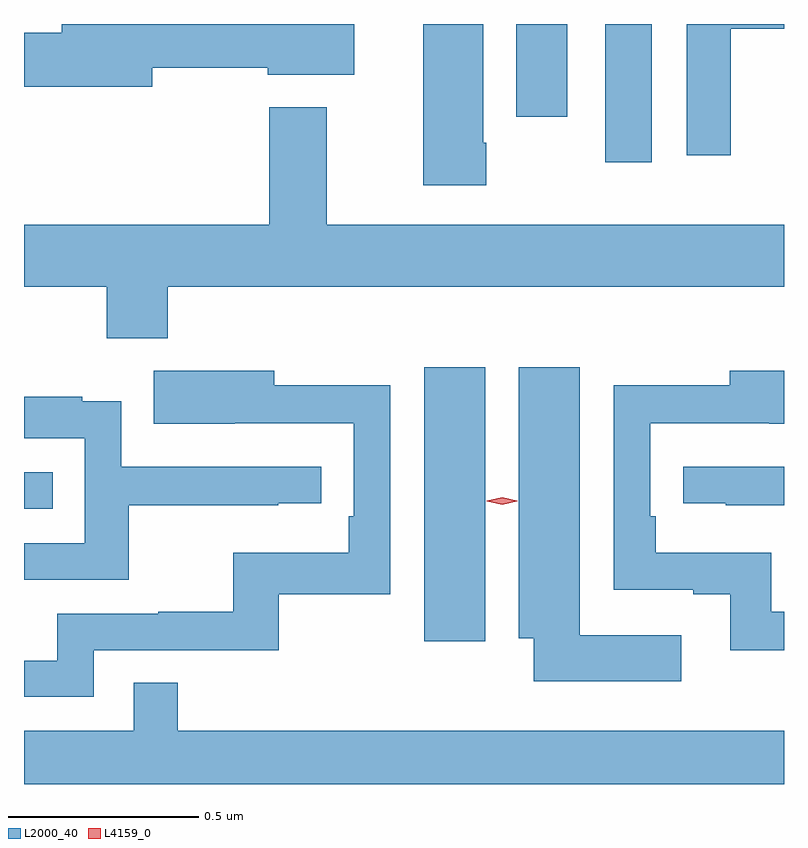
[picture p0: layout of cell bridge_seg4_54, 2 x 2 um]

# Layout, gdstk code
import gdstk
lib = gdstk.Library(unit=1e-6, precision=1e-09)
def R(c, l, rs):  # rectangles x0, y0, x1, y1
    for r in rs: c.add(gdstk.rectangle(r[:2], r[2:], *l))
def P(c, l, *ps):  # polygons
    for p in ps: c.add(gdstk.Polygon(p, *l))
L2000_40 = (2000, 40)
L4159_0 = (4159, 0)

bridge_seg4_54 = lib.new_cell('bridge_seg4_54')
R(bridge_seg4_54, L2000_40, [(867.737,818.532,867.898,819.253), (866.684,818.88,866.759,818.976), (868.214,819.792,868.336,820.156), (867.98,819.912,868.114,820.156)])
P(bridge_seg4_54, L2000_40, [(868.544,820.144),(868.684,820.144),(868.684,820.156),(868.428,820.156),(868.428,819.81),(868.544,819.81)],
  [(867.9,819.844),(867.892,819.844),(867.892,820.156),(867.734,820.156),(867.734,819.732),(867.9,819.732)],
  [(867.022,820.041),(867.326,820.041),(867.326,820.022),(867.553,820.022),(867.553,820.156),(866.783,820.156),(866.783,820.133),(866.684,820.133),(866.684,819.991),(867.022,819.991)],
  [(867.062,819.464),(868.684,819.464),(868.684,819.628),(867.481,819.628),(867.481,819.937),(867.329,819.937),(867.329,819.628),(866.684,819.628),(866.684,819.464),(866.902,819.464),(866.902,819.329),(867.062,819.329)],
  [(868.414,818.548),(868.147,818.548),(868.147,819.253),(867.986,819.253),(867.986,818.54),(868.025,818.54),(868.025,818.426),(868.414,818.426)],
  [(868.684,818.609),(868.651,818.609),(868.651,818.764),(868.346,818.764),(868.346,818.86),(868.332,818.86),(868.332,819.105),(868.645,819.105),(868.645,819.104),(868.684,819.104),(868.684,819.244),(868.541,819.244),(868.541,819.206),(868.236,819.206),(868.236,818.667),(868.445,818.667),(868.445,818.655),(868.542,818.655),(868.542,818.508),(868.684,818.508)],
  [(866.868,818.508),(867.355,818.508),(867.355,818.655),(867.648,818.655),(867.648,819.206),(867.343,819.206),(867.343,819.244),(867.025,819.244),(867.025,819.104),(867.239,819.104),(867.239,819.105),(867.552,819.105),(867.552,818.86),(867.539,818.86),(867.539,818.764),(867.234,818.764),(867.234,818.609),(867.037,818.609),(867.037,818.604),(866.772,818.604),(866.772,818.481),(866.684,818.481),(866.684,818.385),(866.868,818.385)],
  [(866.96,818.89),(867.353,818.89),(867.353,818.895),(867.466,818.895),(867.466,818.991),(866.94,818.991),(866.94,819.163),(866.837,819.163),(866.837,819.175),(866.684,819.175),(866.684,819.066),(866.844,819.066),(866.844,818.79),(866.684,818.79),(866.684,818.694),(866.96,818.694)],
  [(868.684,818.991),(868.419,818.991),(868.419,818.895),(868.531,818.895),(868.531,818.89),(868.684,818.89)],
  [(868.684,818.296),(867.089,818.296),(867.089,818.423),(866.973,818.423),(866.973,818.296),(866.684,818.296),(866.684,818.156),(868.684,818.156)])
P(bridge_seg4_54, L4159_0, [(867.942,818.891),(867.902,818.9),(867.902,818.901),(867.902,818.901),(867.942,818.911),(867.982,818.901),(867.982,818.901),(867.982,818.9)])

lib.write_gds('bridge_seg4_54.gds')
